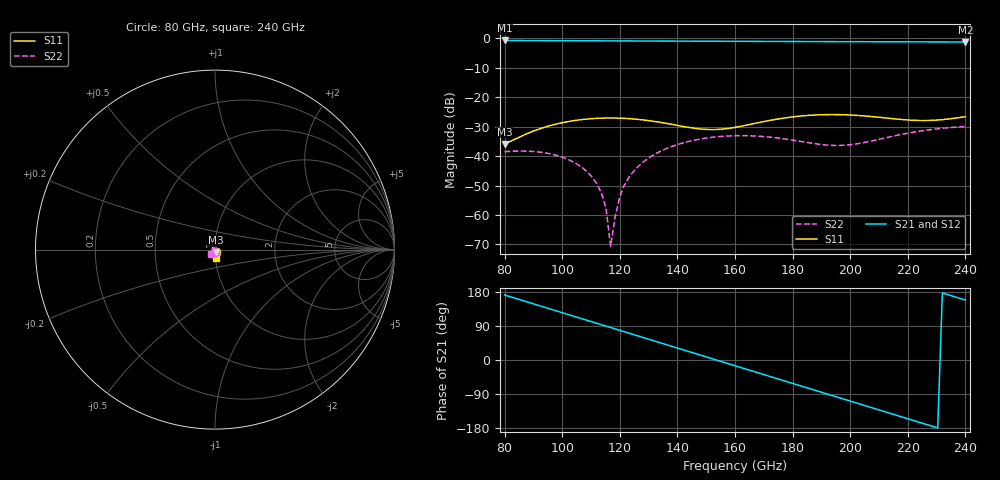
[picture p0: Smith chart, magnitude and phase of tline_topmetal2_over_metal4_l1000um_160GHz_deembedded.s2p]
! Created with skrf 2.0.1 (http://scikit-rf.org).
# GHz S DB R 50.0
!freq dBS11 angS11 dBS21 angS21 dBS12 angS12 dBS22 angS22
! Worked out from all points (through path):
!   101 points, 80 GHz to 240 GHz, reference 50 ohm
!   highest |S21| = -0.82 dB at 80 GHz (marker M1); lowest = -1.3 dB at 240 GHz (marker M2)
!   group delay of S21, straight-line fit = 6.48 ps
!   lowest |S11| = -35.9 dB at 80 GHz (marker M3), VSWR 1.03, Z = 50.5 - j1.54 ohm
!   |S11| at or under -10 dB: start of sweep to end of sweep
!   |S22| runs from -70.6 to -30.0 dB; largest |S21 - S12| = 1e-13
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80  -35.94 -72.5  -0.82 171.6  -0.82 171.6  -38.52 -91.4
88  -32.34 -62.2  -0.85 152.9  -0.85 152.9  -38.36 -99.6
96  -29.64 -66.9  -0.88 134.2  -0.88 134.2  -39.31 -114.0
102.4  -28.27 -74.2  -0.91 119.3  -0.91 119.3  -41.33 -128.3
107.2  -27.61 -80.4  -0.93 108.1  -0.93 108.1  -44.12 -140.2
110.4  -27.33 -84.6  -0.94 100.6  -0.94 100.6  -47.17 -149.0
113.6  -27.17 -88.8  -0.95 93.1  -0.95 93.1  -52.52 -159.6
115.2  -27.13 -90.8  -0.96 89.4  -0.96 89.4  -57.65 -168.0
116.8  -27.11 -92.9  -0.96 85.7  -0.96 85.7  -70.57 150.1
118.4  -27.13 -94.8  -0.97 82.0  -0.97 82.0  -60.53 26.5
120  -27.17 -96.7  -0.97 78.2  -0.97 78.2  -53.72 14.9
121.6  -27.24 -98.6  -0.98 74.5  -0.98 74.5  -49.89 8.5
126.4  -27.59 -103.4  -1.00 63.3  -1.00 63.3  -43.52 -6.7
134.4  -28.64 -108.7  -1.02 44.6  -1.02 44.6  -38.27 -30.3
147.2  -30.75 -103.4  -1.07 14.8  -1.07 14.8  -34.37 -68.9
160  -30.29 -85.4  -1.11 -15.1  -1.11 -15.1  -33.12 -110.5
174.4  -27.53 -81.9  -1.16 -48.7  -1.16 -48.7  -33.85 -164.1
187.2  -26.13 -90.0  -1.20 -78.5  -1.20 -78.5  -35.73 134.9
200  -26.10 -99.0  -1.24 -108.4  -1.24 -108.4  -36.18 56.8
214.4  -27.30 -101.8  -1.28 -142.0  -1.28 -142.0  -33.38 -22.7
227.2  -27.95 -92.5  -1.31 -171.9  -1.31 -171.9  -31.15 -79.2
240  -26.66 -83.2  -1.35 158.3  -1.35 158.3  -30.04 -131.4
